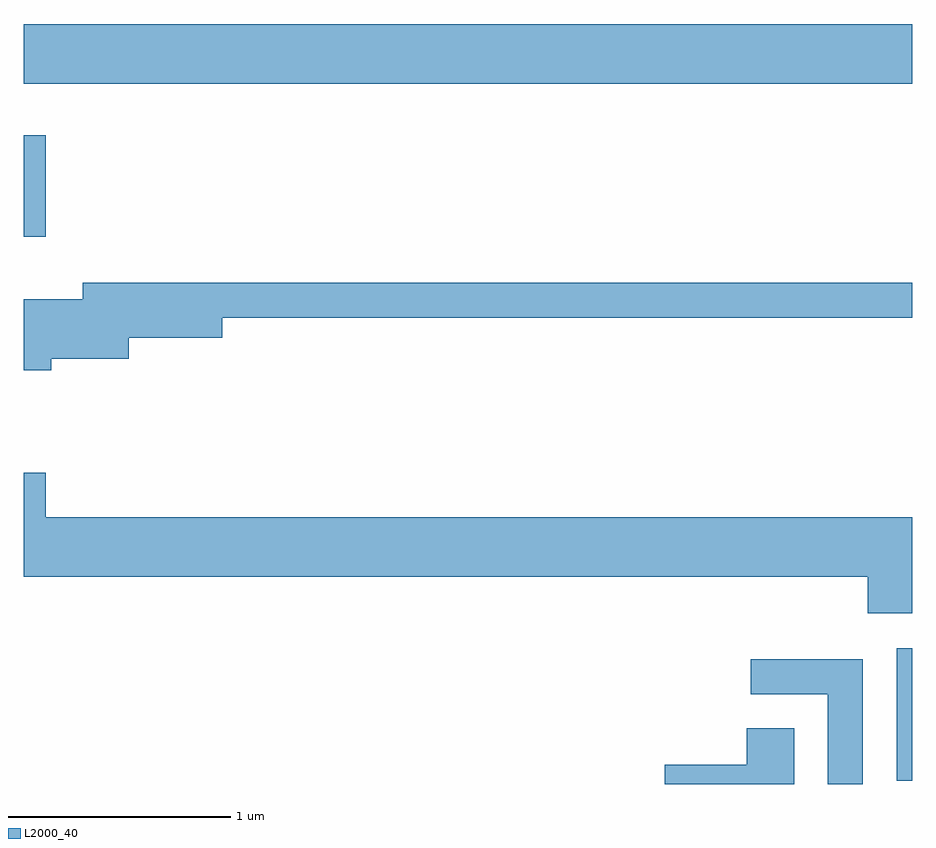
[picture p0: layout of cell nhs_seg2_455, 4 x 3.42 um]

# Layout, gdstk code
import gdstk
lib = gdstk.Library(unit=1e-6, precision=1e-09)
def R(c, l, rs):  # rectangles x0, y0, x1, y1
    for r in rs: c.add(gdstk.rectangle(r[:2], r[2:], *l))
def P(c, l, *ps):  # polygons
    for p in ps: c.add(gdstk.Polygon(p, *l))
L2000_40 = (2000, 40)

nhs_seg2_455 = lib.new_cell('nhs_seg2_455')
R(nhs_seg2_455, L2000_40, [(201.541,1071.816,201.611,1072.414), (197.611,1074.266,197.709,1074.724), (197.611,1074.956,201.611,1075.224)])
P(nhs_seg2_455, L2000_40, [(197.734,1073.716),(198.084,1073.716),(198.084,1073.811),(198.504,1073.811),(198.504,1073.901),(201.611,1073.901),(201.611,1074.059),(197.876,1074.059),(197.876,1073.984),(197.611,1073.984),(197.611,1073.666),(197.734,1073.666)],
  [(201.611,1073.004),(197.709,1073.004),(197.709,1073.204),(197.611,1073.204),(197.611,1072.736),(201.411,1072.736),(201.411,1072.571),(201.611,1072.571)],
  [(201.389,1072.364),(200.883,1072.364),(200.883,1072.206),(201.231,1072.206),(201.231,1071.802),(201.389,1071.802)],
  [(201.079,1072.054),(200.866,1072.054),(200.866,1071.889),(200.496,1071.889),(200.496,1071.802),(201.079,1071.802)])

lib.write_gds('nhs_seg2_455.gds')
